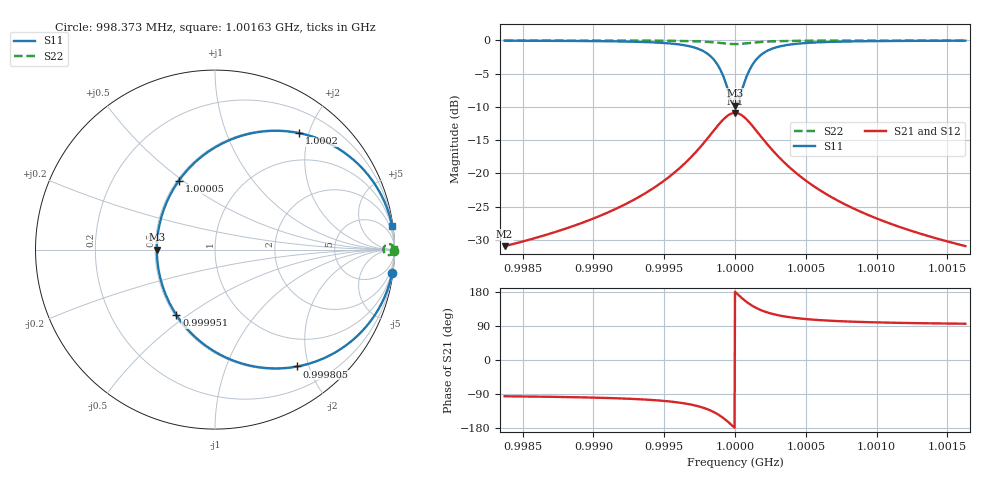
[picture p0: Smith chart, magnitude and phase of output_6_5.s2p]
! File generated for n1 = 6, n2 = 5
! b1 = 2.154435
! b2 = 0.100000
! Q0 = 10000.000000
! f0 = 1000000000.000000
! n = 1001
! rel_span = 10.000000
# Hz S RI R 50
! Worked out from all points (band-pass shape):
!   1001 points, 998.373 MHz to 1.00163 GHz, reference 50 ohm
!   highest |S21| = -10.90 dB at 1 GHz (marker M1); lowest = -30.9 dB at 998.373 MHz (marker M2)
!   |S21| within 3 dB of the highest: 999.8377 MHz to 1.000162 GHz (324.7 kHz wide, 0.0325 % of centre)
!   lowest |S11| = -9.8 dB at 1 GHz (marker M3), VSWR 1.96, Z = 25.5 + j0 ohm
!   |S11| at or under -10 dB: nowhere
!   |S22| runs from -0.6 to 0.0 dB; largest |S21 - S12| = 0
!   S11 on the Smith chart (normalised r, x): 998.373 MHz: 1, -15; 999.805 MHz: 0.51, -1.81; 999.951 MHz: 0.51, -0.45; 1.00005 GHz: 0.51, +0.48; 1.0002 GHz: 0.51, +1.84; 1.00163 GHz: 1, +15
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9.983728e8  0.9869 -0.131  -0.00282 -0.0282  -0.00282 -0.0282  0.9994 -0.00608
9.989163e8  0.9708 -0.1943  -0.00628 -0.0419  -0.00628 -0.0419  0.9986 -0.00902
9.992254e8  0.9441 -0.2663  -0.012 -0.0574  -0.012 -0.0574  0.9974 -0.0124
9.994598e8  0.8899 -0.3655  -0.0237 -0.0788  -0.0237 -0.0788  0.9949 -0.017
9.99668e8  0.7436 -0.5232  -0.0552 -0.1127  -0.0552 -0.1127  0.9881 -0.0243
9.997429e8  0.6214 -0.5983  -0.0816 -0.1289  -0.0816 -0.1289  0.9824 -0.0278
9.998047e8  0.4574 -0.6511  -0.1169 -0.1403  -0.1169 -0.1403  0.9748 -0.0302
9.998861e8  0.1114 -0.622  -0.1914 -0.134  -0.1914 -0.134  0.9588 -0.0289
9.999186e8  -0.0592 -0.5296  -0.2282 -0.1141  -0.2282 -0.1141  0.9508 -0.0246
9.999512e8  -0.2147 -0.3644  -0.2617 -0.0785  -0.2617 -0.0785  0.9436 -0.0169
1e9  -0.324 0  -0.2852 0  -0.2852 0  0.9385 0
1.000026e9  -0.291 0.2065  -0.2781 0.0445  -0.2781 0.0445  0.9401 0.00959
1.000052e9  -0.201 0.3843  -0.2588 0.0828  -0.2588 0.0828  0.9443 0.0178
1.000081e9  -0.0592 0.5296  -0.2282 0.1141  -0.2282 0.1141  0.9508 0.0246
1.000114e9  0.1114 0.622  -0.1914 0.134  -0.1914 0.134  0.9588 0.0289
1.00015e9  0.2829 0.6597  -0.1545 0.1421  -0.1545 0.1421  0.9667 0.0306
1.000199e9  0.4679 0.6491  -0.1146 0.1399  -0.1146 0.1399  0.9753 0.0301
1.00026e9  0.628 0.5951  -0.0801 0.1282  -0.0801 0.1282  0.9827 0.0276
1.000335e9  0.7474 0.5202  -0.0544 0.1121  -0.0544 0.1121  0.9883 0.0241
1.000543e9  0.891 0.3639  -0.0235 0.0784  -0.0235 0.0784  0.9949 0.0169
1.001087e9  0.9709 0.194  -0.00626 0.0418  -0.00626 0.0418  0.9987 0.009
1.001627e9  0.9869 0.1312  -0.00283 0.0283  -0.00283 0.0283  0.9994 0.00609
